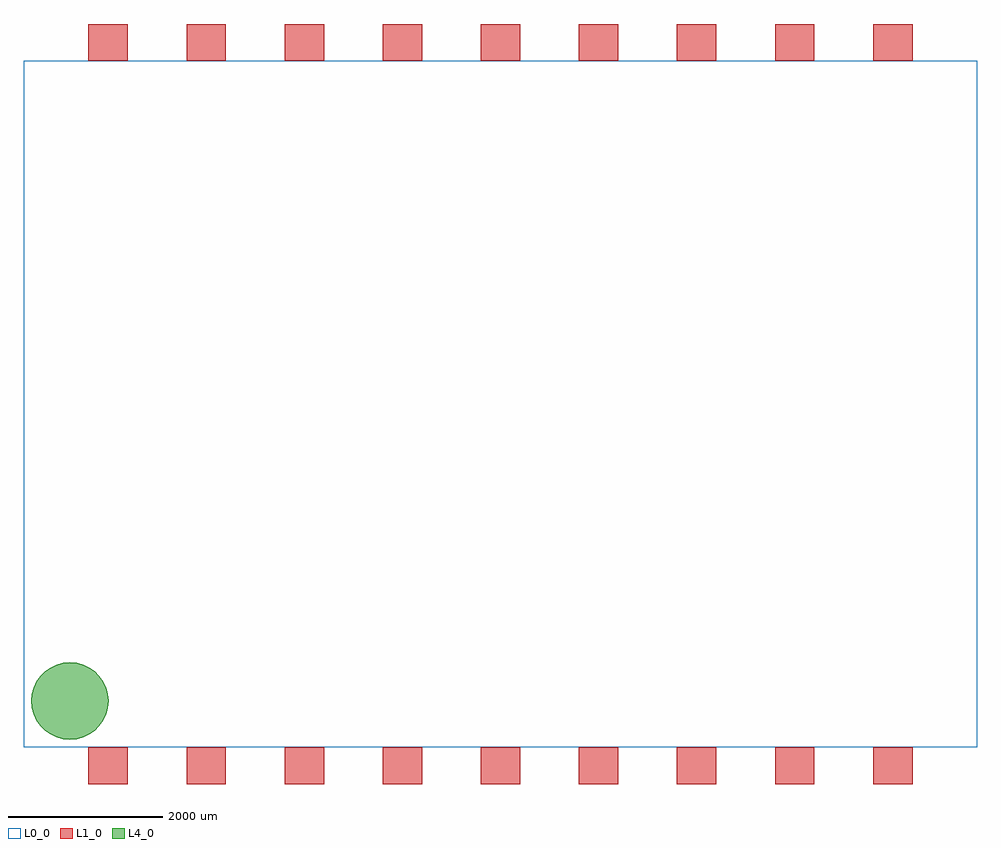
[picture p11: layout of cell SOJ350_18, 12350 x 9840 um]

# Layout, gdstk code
import gdstk
lib = gdstk.Library(unit=1e-6, precision=1e-09)
def R(c, l, rs):  # rectangles x0, y0, x1, y1
    for r in rs: c.add(gdstk.rectangle(r[:2], r[2:], *l))
def A(c, l, x, y, w, h, nx, ny, dx, dy):  # array of equal rectangles
    R(c, l, [(x+i*dx, y+j*dy, x+i*dx+w, y+j*dy+h) for i in range(nx) for j in range(ny)])
def P(c, l, *ps):  # polygons
    for p in ps: c.add(gdstk.Polygon(p, *l))
L0_0 = (0, 0)
L1_0 = (1, 0)
L4_0 = (4, 0)
L99_1 = (99, 1)
L99_2 = (99, 2)
L99_3 = (99, 3)
L99_4 = (99, 4)
L99_5 = (99, 5)
L99_6 = (99, 6)
L99_7 = (99, 7)
L99_8 = (99, 8)
L99_9 = (99, 9)
L99_10 = (99, 10)
L99_11 = (99, 11)
L99_12 = (99, 12)
L99_13 = (99, 13)
L99_14 = (99, 14)
L99_15 = (99, 15)
L99_16 = (99, 16)
L99_17 = (99, 17)
L99_18 = (99, 18)

soj350_18 = lib.new_cell('SOJ350_18')
R(soj350_18, L0_0, [(0,0,12350,8890)])
A(soj350_18, L1_0, 840, -475, 510, 475, 9, 2, 1270, 9365)
P(soj350_18, L4_0, [(1100,600),(1092.404,513.176),(1069.846,428.99),(1033.013,350),(983.022,278.606),(921.394,216.978),(850,166.987),(771.01,130.154),(686.824,107.596),(600,100),(513.176,107.596),(428.99,130.154),(350,166.987),(278.606,216.978),(216.978,278.606),(166.987,350),(130.154,428.99),(107.596,513.176),(100,600),(107.596,686.824),(130.154,771.01),(166.987,850),(216.978,921.394),(278.606,983.022),(350,1033.013),(428.99,1069.846),(513.176,1092.404),(600,1100),(686.824,1092.404),(771.01,1069.846),(850,1033.013),(921.394,983.022),(983.022,921.394),(1033.013,850),(1069.846,771.01),(1092.404,686.824)])
soj350_18.add(gdstk.FlexPath([(1350,0),(840,0)], 0, ends="round", simple_path=True, layer=99, datatype=1))  # L99_1
soj350_18.add(gdstk.FlexPath([(2620,0),(2110,0)], 0, ends="round", simple_path=True, layer=99, datatype=2))  # L99_2
soj350_18.add(gdstk.FlexPath([(3890,0),(3380,0)], 0, ends="round", simple_path=True, layer=99, datatype=3))  # L99_3
soj350_18.add(gdstk.FlexPath([(5160,0),(4650,0)], 0, ends="round", simple_path=True, layer=99, datatype=4))  # L99_4
soj350_18.add(gdstk.FlexPath([(6430,0),(5920,0)], 0, ends="round", simple_path=True, layer=99, datatype=5))  # L99_5
soj350_18.add(gdstk.FlexPath([(7700,0),(7190,0)], 0, ends="round", simple_path=True, layer=99, datatype=6))  # L99_6
soj350_18.add(gdstk.FlexPath([(8970,0),(8460,0)], 0, ends="round", simple_path=True, layer=99, datatype=7))  # L99_7
soj350_18.add(gdstk.FlexPath([(10240,0),(9730,0)], 0, ends="round", simple_path=True, layer=99, datatype=8))  # L99_8
soj350_18.add(gdstk.FlexPath([(11510,0),(11000,0)], 0, ends="round", simple_path=True, layer=99, datatype=9))  # L99_9
soj350_18.add(gdstk.FlexPath([(840,8890),(1350,8890)], 0, ends="round", simple_path=True, layer=99, datatype=18))  # L99_18
soj350_18.add(gdstk.FlexPath([(2110,8890),(2620,8890)], 0, ends="round", simple_path=True, layer=99, datatype=17))  # L99_17
soj350_18.add(gdstk.FlexPath([(3380,8890),(3890,8890)], 0, ends="round", simple_path=True, layer=99, datatype=16))  # L99_16
soj350_18.add(gdstk.FlexPath([(4650,8890),(5160,8890)], 0, ends="round", simple_path=True, layer=99, datatype=15))  # L99_15
soj350_18.add(gdstk.FlexPath([(5920,8890),(6430,8890)], 0, ends="round", simple_path=True, layer=99, datatype=14))  # L99_14
soj350_18.add(gdstk.FlexPath([(7190,8890),(7700,8890)], 0, ends="round", simple_path=True, layer=99, datatype=13))  # L99_13
soj350_18.add(gdstk.FlexPath([(8460,8890),(8970,8890)], 0, ends="round", simple_path=True, layer=99, datatype=12))  # L99_12
soj350_18.add(gdstk.FlexPath([(9730,8890),(10240,8890)], 0, ends="round", simple_path=True, layer=99, datatype=11))  # L99_11
soj350_18.add(gdstk.FlexPath([(11000,8890),(11510,8890)], 0, ends="round", simple_path=True, layer=99, datatype=10))  # L99_10

lib.write_gds('SOJ350_18.gds')
